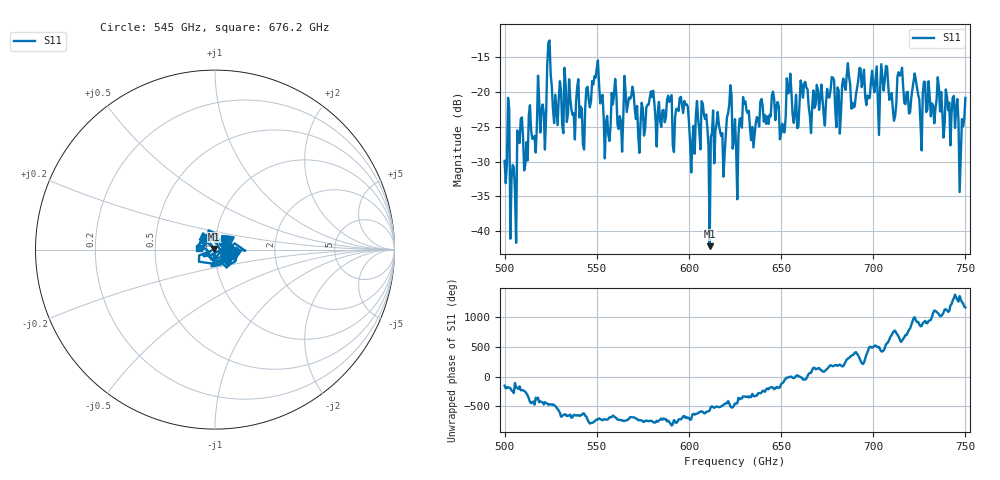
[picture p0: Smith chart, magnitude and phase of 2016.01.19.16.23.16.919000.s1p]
!Created with skrf (http://scikit-rf.org).
# GHz S RI R 50.0
!freq ReS11 ImS11
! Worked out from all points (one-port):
!   401 points, 500 GHz to 750 GHz, reference 50 ohm
!   lowest |S11| = -42.1 dB at 611.2 GHz (marker M1), VSWR 1.02, Z = 49.3 + j0.411 ohm
!   |S11| at or under -10 dB: start of sweep to end of sweep
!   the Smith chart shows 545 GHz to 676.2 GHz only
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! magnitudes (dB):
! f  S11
! 500 GHz  -29.9
! 505 GHz  -30.8
! 508.1 GHz  -27.3
! 520.6 GHz  -21.8
! 524.4 GHz  -12.6
! 527.5 GHz  -20.4
! 531.2 GHz  -24.8
! 541.9 GHz  -22.4
! 550 GHz  -16.6
! 555.6 GHz  -23.4
! 559.4 GHz  -20.3
! 562.5 GHz  -23.5
! 568.8 GHz  -20.5
! 572.5 GHz  -26.2
! 593.8 GHz  -22.4
! 601.9 GHz  -27.1
! 608.1 GHz  -23.2
! 611.2 GHz  -42.1
! 621.9 GHz  -21.9
! 625 GHz  -23.9
! 630.6 GHz  -21.3
! 634.4 GHz  -25.0
! 656.2 GHz  -23.2
! 687.5 GHz  -18.9
! 718.8 GHz  -20.0
! 735.6 GHz  -19.3
! 747.5 GHz  -29.2
! 750 GHz  -20.9
